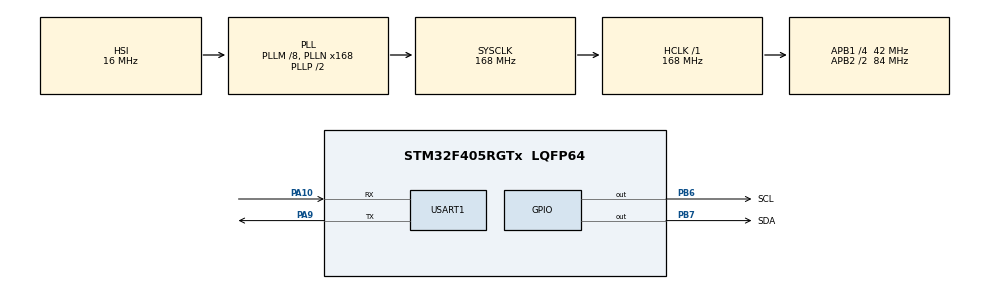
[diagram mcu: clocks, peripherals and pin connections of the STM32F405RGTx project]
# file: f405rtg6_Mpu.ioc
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FREERTOS.Tasks01=defaultTask,0,128,StartDefaultTask,Default,NULL,Dynamic,NULL,NULL;myTask02,-3,128,StartTask02,Default,NULL,Dynamic,NULL,NULL
Mcu.Family=STM32F4
Mcu.Name=STM32F405RGTx
Mcu.Package=LQFP64
NVIC.PriorityGroup=NVIC_PRIORITYGROUP_4
NVIC.TIM6_DAC_IRQn=true\:15\:0\:false\:false\:true\:false\:false\:true\:true
NVIC.TimeBase=TIM6_DAC_IRQn
NVIC.TimeBaseIP=TIM6
PA10.Mode=Asynchronous
PA10.Signal=USART1_RX
PA13.Mode=Serial_Wire
PA13.Signal=SYS_JTMS-SWDIO
PA14.Mode=Serial_Wire
PA14.Signal=SYS_JTCK-SWCLK
PA9.Mode=Asynchronous
PA9.Signal=USART1_TX
PB6.GPIO_Label=SCL
PB6.GPIO_ModeDefaultOutputPP=GPIO_MODE_OUTPUT_OD
PB6.GPIO_PuPd=GPIO_NOPULL
PB6.GPIO_Speed=GPIO_SPEED_FREQ_VERY_HIGH
PB6.PinState=GPIO_PIN_SET
PB6.Signal=GPIO_Output
PB7.GPIO_Label=SDA
PB7.GPIO_ModeDefaultOutputPP=GPIO_MODE_OUTPUT_OD
PB7.GPIO_PuPd=GPIO_NOPULL
PB7.GPIO_Speed=GPIO_SPEED_FREQ_VERY_HIGH
PB7.PinState=GPIO_PIN_SET
PB7.Signal=GPIO_Output
PC14-OSC32_IN.Mode=LSE-External-Oscillator
PC14-OSC32_IN.Signal=RCC_OSC32_IN
PC15-OSC32_OUT.Mode=LSE-External-Oscillator
PC15-OSC32_OUT.Signal=RCC_OSC32_OUT
PH0-OSC_IN.Mode=HSE-External-Oscillator
PH0-OSC_IN.Signal=RCC_OSC_IN
PH1-OSC_OUT.Mode=HSE-External-Oscillator
PH1-OSC_OUT.Signal=RCC_OSC_OUT
ProjectManager.HeapSize=0x200
ProjectManager.StackSize=0x400
ProjectManager.TargetToolchain=MDK-ARM V5.32
RCC.48MHZClocksFreq_Value=84000000
RCC.AHBFreq_Value=168000000
RCC.APB1CLKDivider=RCC_HCLK_DIV4
RCC.APB1Freq_Value=42000000
RCC.APB1TimFreq_Value=84000000
RCC.APB2CLKDivider=RCC_HCLK_DIV2
RCC.APB2Freq_Value=84000000
RCC.APB2TimFreq_Value=168000000
RCC.CortexFreq_Value=168000000
RCC.HCLKFreq_Value=168000000
RCC.HSE_VALUE=25000000
RCC.HSI_VALUE=16000000
RCC.PLLM=8
RCC.PLLN=168
RCC.SYSCLKFreq_VALUE=168000000
RCC.SYSCLKSource=RCC_SYSCLKSOURCE_PLLCLK
RCC.VCOOutputFreq_Value=336000000
USART1.VirtualMode=VM_ASYNC
VP_FREERTOS_VS_CMSIS_V1.Mode=CMSIS_V1
VP_SYS_VS_tim6.Mode=TIM6
board=custom

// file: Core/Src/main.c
/* USER CODE BEGIN Header */
/**
  ******************************************************************************
  * @file           : main.c
  * @brief          : Main program body
  ******************************************************************************
  * @attention
  *
  * Copyright (c) 2024 STMicroelectronics.
  * All rights reserved.
  *
  * This software is licensed under terms that can be found in the LICENSE file
  * in the root directory of this software component.
  * If no LICENSE file comes with this software, it is provided AS-IS.
  *
  ******************************************************************************
  */
/* USER CODE END Header */
#include "main.h"
#include "cmsis_os.h"

/* USER CODE BEGIN Includes */
#include "MPU6050.h"
#include "inv_mpu.h"
#include "stdio.h"
/* USER CODE END Includes */

/* USER CODE BEGIN PD */
float mpu_pitch,mpu_roll,mpu_yaw;
float mpu_gx,mpu_gy,mpu_gz;
/* USER CODE END PD */

UART_HandleTypeDef huart1;

osThreadId defaultTaskHandle;
osThreadId myTask02Handle;

void SystemClock_Config(void);
static void MX_GPIO_Init(void);
static void MX_USART1_UART_Init(void);
void StartDefaultTask(void const * argument);
void StartTask02(void const * argument);

int main(void)
{

  /* MCU Configuration--------------------------------------------------------*/

  /* Reset of all peripherals, Initializes the Flash interface and the Systick. */
  HAL_Init();

  /* Configure the system clock */
  SystemClock_Config();

  /* Initialize all configured peripherals */
  MX_GPIO_Init();
  MX_USART1_UART_Init();
  /* USER CODE BEGIN 2 */
	MPU_Init();
	mpu_dmp_init();
	while(mpu_dmp_init())
	{
			MPU_Init();
			mpu_dmp_init();
	}
  /* USER CODE END 2 */

  /* Create the thread(s) */
  /* definition and creation of defaultTask */
  osThreadDef(defaultTask, StartDefaultTask, osPriorityNormal, 0, 128);
  defaultTaskHandle = osThreadCreate(osThread(defaultTask), NULL);

  /* definition and creation of myTask02 */
  osThreadDef(myTask02, StartTask02, osPriorityIdle, 0, 128);
  myTask02Handle = osThreadCreate(osThread(myTask02), NULL);

  /* Start scheduler */
  osKernelStart();
  /* We should never get here as control is now taken by the scheduler */
  /* Infinite loop */
  while (1)
  {

  }
}

void SystemClock_Config(void)
{
  RCC_OscInitTypeDef RCC_OscInitStruct = {0};
  RCC_ClkInitTypeDef RCC_ClkInitStruct = {0};

  /** Configure the main internal regulator output voltage
  */
  __HAL_RCC_PWR_CLK_ENABLE();
  __HAL_PWR_VOLTAGESCALING_CONFIG(PWR_REGULATOR_VOLTAGE_SCALE1);

  /** Initializes the RCC Oscillators according to the specified parameters
  * in the RCC_OscInitTypeDef structure.
  */
  RCC_OscInitStruct.OscillatorType = RCC_OSCILLATORTYPE_HSI;
  RCC_OscInitStruct.HSIState = RCC_HSI_ON;
  RCC_OscInitStruct.HSICalibrationValue = RCC_HSICALIBRATION_DEFAULT;
  RCC_OscInitStruct.PLL.PLLState = RCC_PLL_ON;
  RCC_OscInitStruct.PLL.PLLSource = RCC_PLLSOURCE_HSI;
  RCC_OscInitStruct.PLL.PLLM = 8;
  RCC_OscInitStruct.PLL.PLLN = 168;
  RCC_OscInitStruct.PLL.PLLP = RCC_PLLP_DIV2;
  RCC_OscInitStruct.PLL.PLLQ = 4;
  if (HAL_RCC_OscConfig(&RCC_OscInitStruct) != HAL_OK)
  {
    Error_Handler();
  }

  /** Initializes the CPU, AHB and APB buses clocks
  */
  RCC_ClkInitStruct.ClockType = RCC_CLOCKTYPE_HCLK|RCC_CLOCKTYPE_SYSCLK
                              |RCC_CLOCKTYPE_PCLK1|RCC_CLOCKTYPE_PCLK2;
  RCC_ClkInitStruct.SYSCLKSource = RCC_SYSCLKSOURCE_PLLCLK;
  RCC_ClkInitStruct.AHBCLKDivider = RCC_SYSCLK_DIV1;
  RCC_ClkInitStruct.APB1CLKDivider = RCC_HCLK_DIV4;
  RCC_ClkInitStruct.APB2CLKDivider = RCC_HCLK_DIV2;

  if (HAL_RCC_ClockConfig(&RCC_ClkInitStruct, FLASH_LATENCY_5) != HAL_OK)
  {
    Error_Handler();
  }
}

static void MX_USART1_UART_Init(void)
{

  huart1.Instance = USART1;
  huart1.Init.BaudRate = 115200;
  huart1.Init.WordLength = UART_WORDLENGTH_8B;
  huart1.Init.StopBits = UART_STOPBITS_1;
  huart1.Init.Parity = UART_PARITY_NONE;
  huart1.Init.Mode = UART_MODE_TX_RX;
  huart1.Init.HwFlowCtl = UART_HWCONTROL_NONE;
  huart1.Init.OverSampling = UART_OVERSAMPLING_16;
  if (HAL_UART_Init(&huart1) != HAL_OK)
  {
    Error_Handler();
  }

}

static void MX_GPIO_Init(void)
{
  GPIO_InitTypeDef GPIO_InitStruct = {0};

  /* GPIO Ports Clock Enable */
  __HAL_RCC_GPIOC_CLK_ENABLE();
  __HAL_RCC_GPIOH_CLK_ENABLE();
  __HAL_RCC_GPIOA_CLK_ENABLE();
  __HAL_RCC_GPIOB_CLK_ENABLE();

  /*Configure GPIO pin Output Level */
  HAL_GPIO_WritePin(GPIOB, SCL_Pin|SDA_Pin, GPIO_PIN_SET);

  /*Configure GPIO pins : SCL_Pin SDA_Pin */
  GPIO_InitStruct.Pin = SCL_Pin|SDA_Pin;
  GPIO_InitStruct.Mode = GPIO_MODE_OUTPUT_OD;
  GPIO_InitStruct.Pull = GPIO_NOPULL;
  GPIO_InitStruct.Speed = GPIO_SPEED_FREQ_VERY_HIGH;
  HAL_GPIO_Init(GPIOB, &GPIO_InitStruct);

}

/* USER CODE BEGIN 4 */
int fputc(int ch, FILE *f)
{
	HAL_UART_Transmit(&huart1,(uint8_t *)&ch,1,HAL_MAX_DELAY);
	return ch;
}

int fgetc(FILE *f)
{
	uint8_t ch;
	HAL_UART_Receive(&huart1,(uint8_t *)&ch,1,HAL_MAX_DELAY);
	return ch;
}
/* USER CODE END 4 */

void StartDefaultTask(void const * argument)
{
  for(;;)
  {
    osDelay(1);
  }
}

void StartTask02(void const * argument)
{
  /* USER CODE BEGIN StartTask02 */

  /* Infinite loop */
  for(;;)
  {
		mpu_dmp_get_data(&mpu_pitch,&mpu_roll,&mpu_yaw);
		MPU_Get_Gyroscope(&mpu_gx,&mpu_gy,&mpu_gz);
		printf("pitch %f, roll = %f, yaw = %f\r\n",mpu_pitch,mpu_roll ,mpu_yaw);
		printf("mpu_gx%f, mpu_gy = %f, mpu_gz = %f\r\n",mpu_gx,mpu_gy ,mpu_gz);

    osDelay(1);
  }
  /* USER CODE END StartTask02 */
}

void HAL_TIM_PeriodElapsedCallback(TIM_HandleTypeDef *htim)
{
  if (htim->Instance == TIM6) {
    HAL_IncTick();
  }
}

void Error_Handler(void)
{
  __disable_irq();
  while (1)
  {
  }
}
